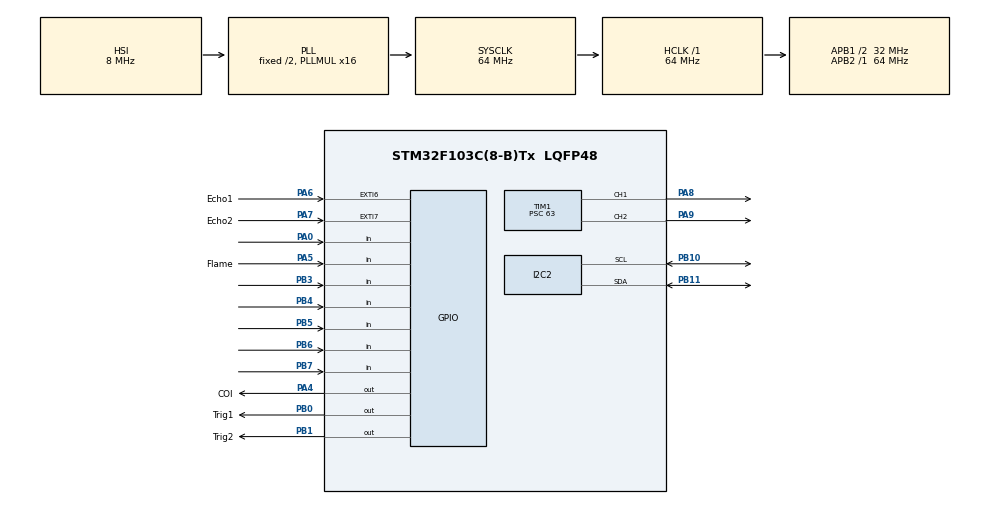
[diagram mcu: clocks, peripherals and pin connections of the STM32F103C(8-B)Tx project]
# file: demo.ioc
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FREERTOS.Tasks01=positionTask,0,128,positionTaskFunc,Default,NULL,Dynamic,NULL,NULL;distanceTask,2,128,distanceTaskFunc,Default,NULL,Dynamic,NULL,NULL
Mcu.Family=STM32F1
Mcu.Name=STM32F103C(8-B)Tx
Mcu.Package=LQFP48
NVIC.EXTI9_5_IRQn=true\:5\:0\:false\:false\:true\:true\:true\:true
NVIC.PriorityGroup=NVIC_PRIORITYGROUP_4
NVIC.TIM4_IRQn=true\:0\:0\:false\:false\:true\:false\:false\:true
NVIC.TimeBase=TIM4_IRQn
NVIC.TimeBaseIP=TIM4
PA0-WKUP.Signal=GPIO_Input
PA13.Mode=Serial_Wire
PA13.Signal=SYS_JTMS-SWDIO
PA14.Mode=Serial_Wire
PA14.Signal=SYS_JTCK-SWCLK
PA4.GPIO_Label=COI
PA4.Signal=GPIO_Output
PA5.GPIO_Label=Flame
PA5.GPIO_PuPd=GPIO_PULLUP
PA5.Signal=GPIO_Input
PA6.GPIO_Label=Echo1
PA6.Signal=GPXTI6
PA7.GPIO_Label=Echo2
PA7.Signal=GPXTI7
PA8.Signal=S_TIM1_CH1
PA9.Signal=S_TIM1_CH2
PB0.GPIO_Label=Trig1
PB0.Signal=GPIO_Output
PB1.GPIO_Label=Trig2
PB1.Signal=GPIO_Output
PB10.Mode=I2C
PB10.Signal=I2C2_SCL
PB11.Mode=I2C
PB11.Signal=I2C2_SDA
PB3.GPIO_PuPd=GPIO_PULLUP
PB3.Signal=GPIO_Input
PB4.GPIO_PuPd=GPIO_PULLUP
PB4.Signal=GPIO_Input
PB5.GPIO_PuPd=GPIO_PULLUP
PB5.Signal=GPIO_Input
PB6.GPIO_PuPd=GPIO_PULLUP
PB6.Signal=GPIO_Input
PB7.GPIO_PuPd=GPIO_PULLUP
PB7.Signal=GPIO_Input
ProjectManager.HeapSize=0x200
ProjectManager.StackSize=0x400
ProjectManager.TargetToolchain=MDK-ARM V5
RCC.ADCPresc=RCC_ADCPCLK2_DIV8
RCC.AHBFreq_Value=64000000
RCC.APB1CLKDivider=RCC_HCLK_DIV2
RCC.APB1Freq_Value=32000000
RCC.APB1TimFreq_Value=64000000
RCC.APB2Freq_Value=64000000
RCC.APB2TimFreq_Value=64000000
RCC.HCLKFreq_Value=64000000
RCC.PLLMUL=RCC_PLL_MUL16
RCC.SYSCLKFreq_VALUE=64000000
RCC.SYSCLKSource=RCC_SYSCLKSOURCE_PLLCLK
RCC.USBFreq_Value=64000000
SH.S_TIM1_CH1.0=TIM1_CH1,PWM Generation1 CH1
SH.S_TIM1_CH2.0=TIM1_CH2,PWM Generation2 CH2
TIM1.Channel-PWM\ Generation1\ CH1=TIM_CHANNEL_1
TIM1.Channel-PWM\ Generation2\ CH2=TIM_CHANNEL_2
TIM1.Period=19999
TIM1.Prescaler=63
TIM2.Prescaler=63
TIM3.Prescaler=63
VP_FREERTOS_VS_CMSIS_V1.Mode=CMSIS_V1
VP_SYS_VS_tim4.Mode=TIM4
VP_TIM1_VS_ClockSourceINT.Mode=Internal
VP_TIM2_VS_ClockSourceINT.Mode=Internal
VP_TIM3_VS_ClockSourceINT.Mode=Internal
board=custom

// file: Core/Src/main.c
/* USER CODE BEGIN Header */
/**
  ******************************************************************************
  * @file           : main.c
  * @brief          : Main program body
  ******************************************************************************
  * @attention
  *
  * <h2><center>&copy; Copyright (c) 2023 STMicroelectronics.
  * All rights reserved.</center></h2>
  *
  * This software component is licensed by ST under Ultimate Liberty license
  * SLA0044, the "License"; You may not use this file except in compliance with
  * the License. You may obtain a copy of the License at:
  *                             www.st.com/SLA0044
  *
  ******************************************************************************
  */
/* USER CODE END Header */
#include "main.h"
#include "cmsis_os.h"

/* USER CODE BEGIN Includes */
#include "dht11.h"
#include "hr04.h"
#include "Servo.h"
#include "Util.h"
#include "LiquidCrystal_I2C.h"
#include "stdbool.h"
#include "MyDelay.h"
/* USER CODE END Includes */

I2C_HandleTypeDef hi2c2;

TIM_HandleTypeDef htim1;
TIM_HandleTypeDef htim2;
TIM_HandleTypeDef htim3;

osThreadId positionTaskHandle;
osThreadId distanceTaskHandle;

void SystemClock_Config(void);
static void MX_GPIO_Init(void);
static void MX_I2C2_Init(void);
static void MX_TIM2_Init(void);
static void MX_TIM3_Init(void);
static void MX_TIM1_Init(void);
void positionTaskFunc(void const * argument);
void distanceTaskFunc(void const * argument);

/* USER CODE BEGIN 0 */
#define DISTANCE_SET    3 //cm
#define POSITION_VALUE  1
#define FLAME_VALUE 		1

typedef uint8_t _bool;
#define TRUE 		1
#define FALSE 	0

#define CLOSE   0
#define OPEN    1

LiquidCrystal_I2C hlcd;
Servo sv1;
Servo sv2;
uint16_t goc1, goc2;
DHT11_Data_TypeDef DHT11_Data;
float temp = 0, humi = 0;

typedef struct{
	uint8_t p1;
	uint8_t p2;
	uint8_t p3;
	uint8_t p4;
	uint8_t p5;
}position_t;

position_t checkPosition(){
	position_t result = {0, 0, 0, 0, 0};
	result.p1 = HAL_GPIO_ReadPin(GPIOB, GPIO_PIN_3);
	result.p2 = HAL_GPIO_ReadPin(GPIOB, GPIO_PIN_4);
	result.p3 = HAL_GPIO_ReadPin(GPIOB, GPIO_PIN_5);
	result.p4 = HAL_GPIO_ReadPin(GPIOB, GPIO_PIN_6);
	result.p5 = HAL_GPIO_ReadPin(GPIOB, GPIO_PIN_7);
	return result;
}

void displayPosition(){
	lcd_clear_display(&hlcd);
	position_t p = checkPosition();
	lcd_set_cursor(&hlcd, 0, 0);
	lcd_printf(&hlcd," 1  2  3  4  5 ");
	HAL_Delay(100);
	lcd_set_cursor(&hlcd, 1, 0);
	lcd_printf(&hlcd," %c  %c  %c  %c  %c ",
		(p.p1 == POSITION_VALUE) ? ('v') : ('x'),
		(p.p2 == POSITION_VALUE) ? ('v') : ('x'),
		(p.p3 == POSITION_VALUE) ? ('v') : ('x'),
		(p.p4 == POSITION_VALUE) ? ('v') : ('x'),
		(p.p5 == POSITION_VALUE) ? ('v') : ('x')
	);
	HAL_Delay(2000);

	lcd_clear_display(&hlcd);
	if(HAL_GPIO_ReadPin(GPIOA, GPIO_PIN_5) == FLAME_VALUE){
		HAL_GPIO_WritePin(GPIOA, GPIO_PIN_4, GPIO_PIN_SET);
		lcd_set_cursor(&hlcd, 0, 0);
		lcd_printf(&hlcd,"   is Fire   ");
	}else{
		HAL_GPIO_WritePin(GPIOA, GPIO_PIN_4, GPIO_PIN_RESET);
		lcd_set_cursor(&hlcd, 0, 0);
		lcd_printf(&hlcd,"   no Fire   ");
	}
	if(DHT11_ReadData(&DHT11_Data)){
		temp = DHT11_Data.temp_int;
		humi = DHT11_Data.humi_int;
		lcd_set_cursor(&hlcd, 1, 0);
		lcd_printf(&hlcd,"Temp:%.2f, Humi:%.2f", temp, humi);
	}
	HAL_Delay(2000);
}

void controlServo(){
	float hr04_1 = hr04_getDistance1(GPIOB, GPIO_PIN_0);
	float hr04_2 =  hr04_getDistance2(GPIOB, GPIO_PIN_1);

	if(hr04_1 <= DISTANCE_SET || hr04_2 <= DISTANCE_SET){
		servo_write(&sv1, 90);
		servo_write(&sv2, 90);
		HAL_Delay(2000);
	}else{
		HAL_Delay(2000);
		servo_write(&sv1, 0);
		servo_write(&sv2, 0);
	}
}

void initAll(){
	delay_init();
	lcd_init(&hlcd, &hi2c2, LCD_ADDR_DEFAULT);
	servo_init(&sv1,&htim1,TIM_CHANNEL_1);
	servo_init(&sv2,&htim1,TIM_CHANNEL_2);
}

/* USER CODE END 0 */

int main(void)
{

  /* MCU Configuration--------------------------------------------------------*/

  /* Reset of all peripherals, Initializes the Flash interface and the Systick. */
  HAL_Init();

  /* Configure the system clock */
  SystemClock_Config();

  /* Initialize all configured peripherals */
  MX_GPIO_Init();
  MX_I2C2_Init();
  MX_TIM2_Init();
  MX_TIM3_Init();
  MX_TIM1_Init();
  /* USER CODE BEGIN 2 */
	initAll();
  /* USER CODE END 2 */

  /* Create the thread(s) */
  /* definition and creation of positionTask */
  osThreadDef(positionTask, positionTaskFunc, osPriorityNormal, 0, 128);
  positionTaskHandle = osThreadCreate(osThread(positionTask), NULL);

  /* definition and creation of distanceTask */
  osThreadDef(distanceTask, distanceTaskFunc, osPriorityHigh, 0, 128);
  distanceTaskHandle = osThreadCreate(osThread(distanceTask), NULL);

  /* Start scheduler */
  osKernelStart();

  /* We should never get here as control is now taken by the scheduler */
  /* Infinite loop */
  while (1)
  {

  }
}

void SystemClock_Config(void)
{
  RCC_OscInitTypeDef RCC_OscInitStruct = {0};
  RCC_ClkInitTypeDef RCC_ClkInitStruct = {0};

  /** Initializes the RCC Oscillators according to the specified parameters
  * in the RCC_OscInitTypeDef structure.
  */
  RCC_OscInitStruct.OscillatorType = RCC_OSCILLATORTYPE_HSI;
  RCC_OscInitStruct.HSIState = RCC_HSI_ON;
  RCC_OscInitStruct.HSICalibrationValue = RCC_HSICALIBRATION_DEFAULT;
  RCC_OscInitStruct.PLL.PLLState = RCC_PLL_ON;
  RCC_OscInitStruct.PLL.PLLSource = RCC_PLLSOURCE_HSI_DIV2;
  RCC_OscInitStruct.PLL.PLLMUL = RCC_PLL_MUL16;
  if (HAL_RCC_OscConfig(&RCC_OscInitStruct) != HAL_OK)
  {
    Error_Handler();
  }
  /** Initializes the CPU, AHB and APB buses clocks
  */
  RCC_ClkInitStruct.ClockType = RCC_CLOCKTYPE_HCLK|RCC_CLOCKTYPE_SYSCLK
                              |RCC_CLOCKTYPE_PCLK1|RCC_CLOCKTYPE_PCLK2;
  RCC_ClkInitStruct.SYSCLKSource = RCC_SYSCLKSOURCE_PLLCLK;
  RCC_ClkInitStruct.AHBCLKDivider = RCC_SYSCLK_DIV1;
  RCC_ClkInitStruct.APB1CLKDivider = RCC_HCLK_DIV2;
  RCC_ClkInitStruct.APB2CLKDivider = RCC_HCLK_DIV1;

  if (HAL_RCC_ClockConfig(&RCC_ClkInitStruct, FLASH_LATENCY_2) != HAL_OK)
  {
    Error_Handler();
  }
}

static void MX_I2C2_Init(void)
{

  hi2c2.Instance = I2C2;
  hi2c2.Init.ClockSpeed = 100000;
  hi2c2.Init.DutyCycle = I2C_DUTYCYCLE_2;
  hi2c2.Init.OwnAddress1 = 0;
  hi2c2.Init.AddressingMode = I2C_ADDRESSINGMODE_7BIT;
  hi2c2.Init.DualAddressMode = I2C_DUALADDRESS_DISABLE;
  hi2c2.Init.OwnAddress2 = 0;
  hi2c2.Init.GeneralCallMode = I2C_GENERALCALL_DISABLE;
  hi2c2.Init.NoStretchMode = I2C_NOSTRETCH_DISABLE;
  if (HAL_I2C_Init(&hi2c2) != HAL_OK)
  {
    Error_Handler();
  }

}

static void MX_TIM1_Init(void)
{

  TIM_ClockConfigTypeDef sClockSourceConfig = {0};
  TIM_MasterConfigTypeDef sMasterConfig = {0};
  TIM_OC_InitTypeDef sConfigOC = {0};
  TIM_BreakDeadTimeConfigTypeDef sBreakDeadTimeConfig = {0};

  htim1.Instance = TIM1;
  htim1.Init.Prescaler = 63;
  htim1.Init.CounterMode = TIM_COUNTERMODE_UP;
  htim1.Init.Period = 19999;
  htim1.Init.ClockDivision = TIM_CLOCKDIVISION_DIV1;
  htim1.Init.RepetitionCounter = 0;
  htim1.Init.AutoReloadPreload = TIM_AUTORELOAD_PRELOAD_DISABLE;
  if (HAL_TIM_Base_Init(&htim1) != HAL_OK)
  {
    Error_Handler();
  }
  sClockSourceConfig.ClockSource = TIM_CLOCKSOURCE_INTERNAL;
  if (HAL_TIM_ConfigClockSource(&htim1, &sClockSourceConfig) != HAL_OK)
  {
    Error_Handler();
  }
  if (HAL_TIM_PWM_Init(&htim1) != HAL_OK)
  {
    Error_Handler();
  }
  sMasterConfig.MasterOutputTrigger = TIM_TRGO_RESET;
  sMasterConfig.MasterSlaveMode = TIM_MASTERSLAVEMODE_DISABLE;
  if (HAL_TIMEx_MasterConfigSynchronization(&htim1, &sMasterConfig) != HAL_OK)
  {
    Error_Handler();
  }
  sConfigOC.OCMode = TIM_OCMODE_PWM1;
  sConfigOC.Pulse = 0;
  sConfigOC.OCPolarity = TIM_OCPOLARITY_HIGH;
  sConfigOC.OCNPolarity = TIM_OCNPOLARITY_HIGH;
  sConfigOC.OCFastMode = TIM_OCFAST_DISABLE;
  sConfigOC.OCIdleState = TIM_OCIDLESTATE_RESET;
  sConfigOC.OCNIdleState = TIM_OCNIDLESTATE_RESET;
  if (HAL_TIM_PWM_ConfigChannel(&htim1, &sConfigOC, TIM_CHANNEL_1) != HAL_OK)
  {
    Error_Handler();
  }
  if (HAL_TIM_PWM_ConfigChannel(&htim1, &sConfigOC, TIM_CHANNEL_2) != HAL_OK)
  {
    Error_Handler();
  }
  sBreakDeadTimeConfig.OffStateRunMode = TIM_OSSR_DISABLE;
  sBreakDeadTimeConfig.OffStateIDLEMode = TIM_OSSI_DISABLE;
  sBreakDeadTimeConfig.LockLevel = TIM_LOCKLEVEL_OFF;
  sBreakDeadTimeConfig.DeadTime = 0;
  sBreakDeadTimeConfig.BreakState = TIM_BREAK_DISABLE;
  sBreakDeadTimeConfig.BreakPolarity = TIM_BREAKPOLARITY_HIGH;
  sBreakDeadTimeConfig.AutomaticOutput = TIM_AUTOMATICOUTPUT_DISABLE;
  if (HAL_TIMEx_ConfigBreakDeadTime(&htim1, &sBreakDeadTimeConfig) != HAL_OK)
  {
    Error_Handler();
  }
  HAL_TIM_MspPostInit(&htim1);

}

static void MX_TIM2_Init(void)
{

  TIM_ClockConfigTypeDef sClockSourceConfig = {0};
  TIM_MasterConfigTypeDef sMasterConfig = {0};

  htim2.Instance = TIM2;
  htim2.Init.Prescaler = 63;
  htim2.Init.CounterMode = TIM_COUNTERMODE_UP;
  htim2.Init.Period = 65535;
  htim2.Init.ClockDivision = TIM_CLOCKDIVISION_DIV1;
  htim2.Init.AutoReloadPreload = TIM_AUTORELOAD_PRELOAD_DISABLE;
  if (HAL_TIM_Base_Init(&htim2) != HAL_OK)
  {
    Error_Handler();
  }
  sClockSourceConfig.ClockSource = TIM_CLOCKSOURCE_INTERNAL;
  if (HAL_TIM_ConfigClockSource(&htim2, &sClockSourceConfig) != HAL_OK)
  {
    Error_Handler();
  }
  sMasterConfig.MasterOutputTrigger = TIM_TRGO_RESET;
  sMasterConfig.MasterSlaveMode = TIM_MASTERSLAVEMODE_DISABLE;
  if (HAL_TIMEx_MasterConfigSynchronization(&htim2, &sMasterConfig) != HAL_OK)
  {
    Error_Handler();
  }

}

static void MX_TIM3_Init(void)
{

  TIM_ClockConfigTypeDef sClockSourceConfig = {0};
  TIM_MasterConfigTypeDef sMasterConfig = {0};

  htim3.Instance = TIM3;
  htim3.Init.Prescaler = 63;
  htim3.Init.CounterMode = TIM_COUNTERMODE_UP;
  htim3.Init.Period = 65535;
  htim3.Init.ClockDivision = TIM_CLOCKDIVISION_DIV1;
  htim3.Init.AutoReloadPreload = TIM_AUTORELOAD_PRELOAD_DISABLE;
  if (HAL_TIM_Base_Init(&htim3) != HAL_OK)
  {
    Error_Handler();
  }
  sClockSourceConfig.ClockSource = TIM_CLOCKSOURCE_INTERNAL;
  if (HAL_TIM_ConfigClockSource(&htim3, &sClockSourceConfig) != HAL_OK)
  {
    Error_Handler();
  }
  sMasterConfig.MasterOutputTrigger = TIM_TRGO_RESET;
  sMasterConfig.MasterSlaveMode = TIM_MASTERSLAVEMODE_DISABLE;
  if (HAL_TIMEx_MasterConfigSynchronization(&htim3, &sMasterConfig) != HAL_OK)
  {
    Error_Handler();
  }

}

static void MX_GPIO_Init(void)
{
  GPIO_InitTypeDef GPIO_InitStruct = {0};

  /* GPIO Ports Clock Enable */
  __HAL_RCC_GPIOA_CLK_ENABLE();
  __HAL_RCC_GPIOB_CLK_ENABLE();

  /*Configure GPIO pin Output Level */
  HAL_GPIO_WritePin(COI_GPIO_Port, COI_Pin, GPIO_PIN_RESET);

  /*Configure GPIO pin Output Level */
  HAL_GPIO_WritePin(GPIOB, Trig1_Pin|Trig2_Pin, GPIO_PIN_RESET);

  /*Configure GPIO pin : PA0 */
  GPIO_InitStruct.Pin = GPIO_PIN_0;
  GPIO_InitStruct.Mode = GPIO_MODE_INPUT;
  GPIO_InitStruct.Pull = GPIO_NOPULL;
  HAL_GPIO_Init(GPIOA, &GPIO_InitStruct);

  /*Configure GPIO pin : COI_Pin */
  GPIO_InitStruct.Pin = COI_Pin;
  GPIO_InitStruct.Mode = GPIO_MODE_OUTPUT_PP;
  GPIO_InitStruct.Pull = GPIO_NOPULL;
  GPIO_InitStruct.Speed = GPIO_SPEED_FREQ_LOW;
  HAL_GPIO_Init(COI_GPIO_Port, &GPIO_InitStruct);

  /*Configure GPIO pin : Flame_Pin */
  GPIO_InitStruct.Pin = Flame_Pin;
  GPIO_InitStruct.Mode = GPIO_MODE_INPUT;
  GPIO_InitStruct.Pull = GPIO_PULLUP;
  HAL_GPIO_Init(Flame_GPIO_Port, &GPIO_InitStruct);

  /*Configure GPIO pins : Echo1_Pin Echo2_Pin */
  GPIO_InitStruct.Pin = Echo1_Pin|Echo2_Pin;
  GPIO_InitStruct.Mode = GPIO_MODE_IT_RISING;
  GPIO_InitStruct.Pull = GPIO_NOPULL;
  HAL_GPIO_Init(GPIOA, &GPIO_InitStruct);

  /*Configure GPIO pins : Trig1_Pin Trig2_Pin */
  GPIO_InitStruct.Pin = Trig1_Pin|Trig2_Pin;
  GPIO_InitStruct.Mode = GPIO_MODE_OUTPUT_PP;
  GPIO_InitStruct.Pull = GPIO_NOPULL;
  GPIO_InitStruct.Speed = GPIO_SPEED_FREQ_LOW;
  HAL_GPIO_Init(GPIOB, &GPIO_InitStruct);

  /*Configure GPIO pins : PB3 PB4 PB5 PB6
                           PB7 */
  GPIO_InitStruct.Pin = GPIO_PIN_3|GPIO_PIN_4|GPIO_PIN_5|GPIO_PIN_6
                          |GPIO_PIN_7;
  GPIO_InitStruct.Mode = GPIO_MODE_INPUT;
  GPIO_InitStruct.Pull = GPIO_PULLUP;
  HAL_GPIO_Init(GPIOB, &GPIO_InitStruct);

  /* EXTI interrupt init*/
  HAL_NVIC_SetPriority(EXTI9_5_IRQn, 5, 0);
  HAL_NVIC_EnableIRQ(EXTI9_5_IRQn);

}

void positionTaskFunc(void const * argument)
{
  /* USER CODE BEGIN 5 */

  /* Infinite loop */
  for(;;)
  {
		displayPosition();
    osDelay(500);
  }
  /* USER CODE END 5 */
}

void distanceTaskFunc(void const * argument)
{
  /* USER CODE BEGIN distanceTaskFunc */
  /* Infinite loop */

  for(;;)
  {
		controlServo();
    osDelay(500);
  }
  /* USER CODE END distanceTaskFunc */
}

 /**
  * @brief  Period elapsed callback in non blocking mode
  * @note   This function is called  when TIM4 interrupt took place, inside
  * HAL_TIM_IRQHandler(). It makes a direct call to HAL_IncTick() to increment
  * a global variable "uwTick" used as application time base.
  * @param  htim : TIM handle
  * @retval None
  */
void HAL_TIM_PeriodElapsedCallback(TIM_HandleTypeDef *htim)
{
  if (htim->Instance == TIM4) {
    HAL_IncTick();
  }
}

void Error_Handler(void)
{
  __disable_irq();
  while (1)
  {
  }
}

/************************ (C) COPYRIGHT STMicroelectronics *****END OF FILE****/
